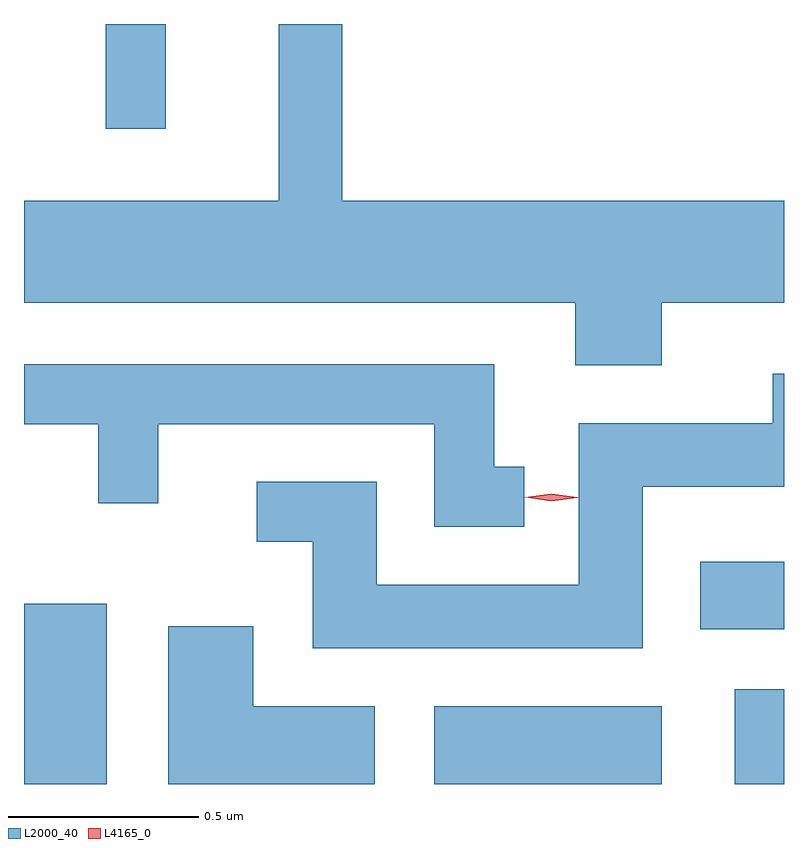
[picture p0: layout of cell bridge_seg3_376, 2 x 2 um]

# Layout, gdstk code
import gdstk
lib = gdstk.Library(unit=1e-6, precision=1e-09)
def R(c, l, rs):  # rectangles x0, y0, x1, y1
    for r in rs: c.add(gdstk.rectangle(r[:2], r[2:], *l))
def P(c, l, *ps):  # polygons
    for p in ps: c.add(gdstk.Polygon(p, *l))
L2000_40 = (2000, 40)
L4165_0 = (4165, 0)

bridge_seg3_376 = lib.new_cell('bridge_seg3_376')
R(bridge_seg3_376, L2000_40, [(685.981,1126.969,686.199,1127.444), (687.061,1126.969,687.659,1127.174), (687.851,1126.969,687.981,1127.219), (687.761,1127.376,687.981,1127.554), (686.196,1128.693,686.354,1128.969)])
P(bridge_seg3_376, L2000_40, [(686.819,1128.969),(686.651,1128.969),(686.651,1128.504),(685.981,1128.504),(685.981,1128.236),(687.431,1128.236),(687.431,1128.071),(687.659,1128.071),(687.659,1128.236),(687.981,1128.236),(687.981,1128.504),(686.819,1128.504)],
  [(687.298,1127.804),(687.219,1127.804),(687.219,1128.074),(685.981,1128.074),(685.981,1127.916),(686.176,1127.916),(686.176,1127.708),(686.334,1127.708),(686.334,1127.916),(687.061,1127.916),(687.061,1127.646),(687.298,1127.646)],
  [(687.609,1127.751),(687.981,1127.751),(687.981,1128.048),(687.951,1128.048),(687.951,1127.919),(687.441,1127.919),(687.441,1127.494),(686.909,1127.494),(686.909,1127.764),(686.593,1127.764),(686.593,1127.606),(686.741,1127.606),(686.741,1127.326),(687.609,1127.326)],
  [(686.904,1127.174),(686.584,1127.174),(686.584,1127.384),(686.361,1127.384),(686.361,1126.969),(686.904,1126.969)])
P(bridge_seg3_376, L4165_0, [(687.368,1127.713),(687.299,1127.723),(687.299,1127.723),(687.299,1127.724),(687.368,1127.733),(687.438,1127.723),(687.438,1127.723),(687.438,1127.722)])

lib.write_gds('bridge_seg3_376.gds')
